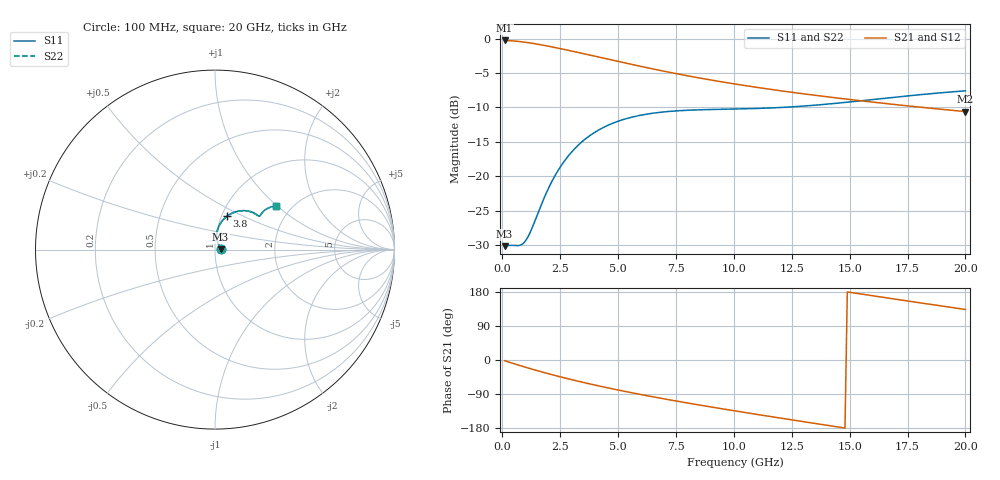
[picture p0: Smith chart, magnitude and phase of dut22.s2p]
! Touchstone file exported from HFSS 2024.1.0
!  File:  C:/UserFiles/LocalFiles/RDL_TSV_Batchsim/temp_RDL_TSV_22_1779400157.aedt
!  Generated:  06:03:19 AM May 22, 2026
!  Design:  RDL_TSV
!  Project:  temp_RDL_TSV_22_1779400157
!  Setup:  Setup1
!  Solution:  Sweep
! Variables:
!  dtsv = 10.29um
!  hbump = 3um
!  htsv = 88.58um
!  ldown = 222.26um
!  lrdl = 571.69um
!  p = 40
!  p1 = 44.59um
!  rhole = 10um
!  subl = 2953.54um
!  t = 450um
!  tdown = 2.93um
!  trdl = 2.26um
!  viad = 10um
!  wdown = 26.09um
!  wrdl = 12.64um
!  xbump = 18um
# GHz S MA R 50.000000
! Terminal data exported
! Port[1] = TM1_1_T1
! Port[2] = TM1_4_T1
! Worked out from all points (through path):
!   200 points, 100 MHz to 20 GHz, reference 50 ohm
!   highest |S21| = -0.28 dB at 100 MHz (marker M1); lowest = -10.6 dB at 20 GHz (marker M2)
!   group delay of S21, straight-line fit = 29.7 ps
!   lowest |S11| = -30.2 dB at 100 MHz (marker M3), VSWR 1.06, Z = 53.2 + j0.263 ohm
!   |S11| at or under -10 dB: start of sweep to 12.15 GHz
!   |S22| runs from -30.2 to -7.6 dB; largest |S21 - S12| = 2.4e-14
!   S11 on the Smith chart (normalised r, x): 100 MHz: 1.06, +0.01; 3.8 GHz: 1.06, +0.41; 20 GHz: 1.67, +0.98
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0.1  0.03097 4.6  0.9687 -2.0  0.9687 -2.0  0.03097 4.6
! Gamma 0 0 0 0
! Port Impedance 50 0 50 0
0.7  0.03127 32.0  0.9529 -13.5  0.9529 -13.5  0.03128 32.0
1  0.03378 51.4  0.9395 -19.1  0.9395 -19.1  0.03379 51.4
1.2  0.03887 63.7  0.9291 -22.7  0.9291 -22.7  0.03887 63.6
1.6  0.05712 78.7  0.9055 -29.7  0.9055 -29.7  0.0571 78.7
2  0.08194 83.3  0.8796 -36.4  0.8796 -36.4  0.08189 83.2
2.3  0.1024 83.2  0.8593 -41.2  0.8593 -41.2  0.1023 83.1
2.9  0.1435 79.1  0.818 -50.5  0.818 -50.5  0.1433 79.0
3.5  0.1813 73.2  0.7771 -59.2  0.7771 -59.2  0.181 73.1
3.8  0.1981 70.2  0.7571 -63.4  0.7571 -63.4  0.1978 70.1
4.4  0.2274 64.2  0.7185 -71.5  0.7185 -71.5  0.227 64.1
5.1  0.2539 58.0  0.6762 -80.5  0.6762 -80.5  0.2534 57.9
5.9  0.2755 51.9  0.6318 -90.1  0.6318 -90.1  0.2749 51.8
6.8  0.2908 46.4  0.5872 -100.5  0.5872 -100.5  0.2901 46.3
8.4  0.3031 40.1  0.521 -117.7  0.521 -117.7  0.3023 40.0
10.1  0.3076 37.2  0.4659 -134.8  0.4659 -134.8  0.3067 37.1
11.7  0.3135 36.9  0.4247 -150.3  0.4247 -150.3  0.3126 36.8
13.4  0.3267 37.7  0.3889 -166.5  0.3889 -166.5  0.3259 37.7
15  0.346 38.3  0.3607 178.6  0.3607 178.6  0.3452 38.3
16.7  0.3708 38.2  0.335 163.0  0.335 163.0  0.3699 38.1
18.4  0.396 37.0  0.3127 147.6  0.3127 147.6  0.395 37.0
20  0.4169 35.4  0.2945 133.3  0.2945 133.3  0.4159 35.3
